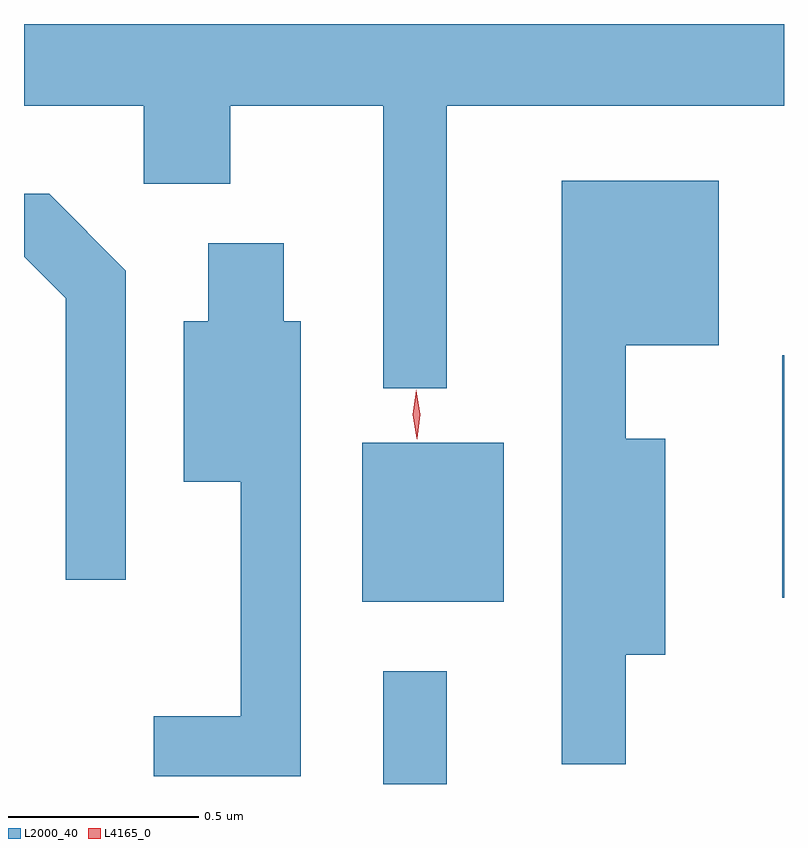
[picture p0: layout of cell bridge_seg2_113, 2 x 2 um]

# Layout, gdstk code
import gdstk
lib = gdstk.Library(unit=1e-6, precision=1e-09)
def R(c, l, rs):  # rectangles x0, y0, x1, y1
    for r in rs: c.add(gdstk.rectangle(r[:2], r[2:], *l))
def P(c, l, *ps):  # polygons
    for p in ps: c.add(gdstk.Polygon(p, *l))
L2000_40 = (2000, 40)
L4165_0 = (4165, 0)

bridge_seg2_113 = lib.new_cell('bridge_seg2_113')
R(bridge_seg2_113, L2000_40, [(922.421,1077.611,922.589,1077.908), (922.366,1078.091,922.739,1078.509), (923.471,1078.101,923.476,1078.739)])
P(bridge_seg2_113, L2000_40, [(922.589,1079.396),(923.476,1079.396),(923.476,1079.611),(921.476,1079.611),(921.476,1079.396),(921.791,1079.396),(921.791,1079.191),(922.019,1079.191),(922.019,1079.396),(922.421,1079.396),(922.421,1078.653),(922.589,1078.653)],
  [(923.059,1077.951),(923.164,1077.951),(923.164,1078.519),(923.059,1078.519),(923.059,1078.766),(923.304,1078.766),(923.304,1079.199),(922.891,1079.199),(922.891,1077.663),(923.059,1077.663)],
  [(921.744,1078.962),(921.542,1079.164),(921.476,1079.164),(921.476,1078.999),(921.586,1078.889),(921.586,1078.148),(921.744,1078.148)],
  [(922.204,1078.829),(922.159,1078.829),(922.159,1079.034),(921.961,1079.034),(921.961,1078.829),(921.896,1078.829),(921.896,1078.406),(922.046,1078.406),(922.046,1077.789),(921.818,1077.789),(921.818,1077.631),(922.204,1077.631)])
P(bridge_seg2_113, L4165_0, [(922.511,1078.518),(922.51,1078.519),(922.499,1078.583),(922.508,1078.647),(922.508,1078.648),(922.508,1078.647),(922.519,1078.583),(922.511,1078.519)])

lib.write_gds('bridge_seg2_113.gds')
